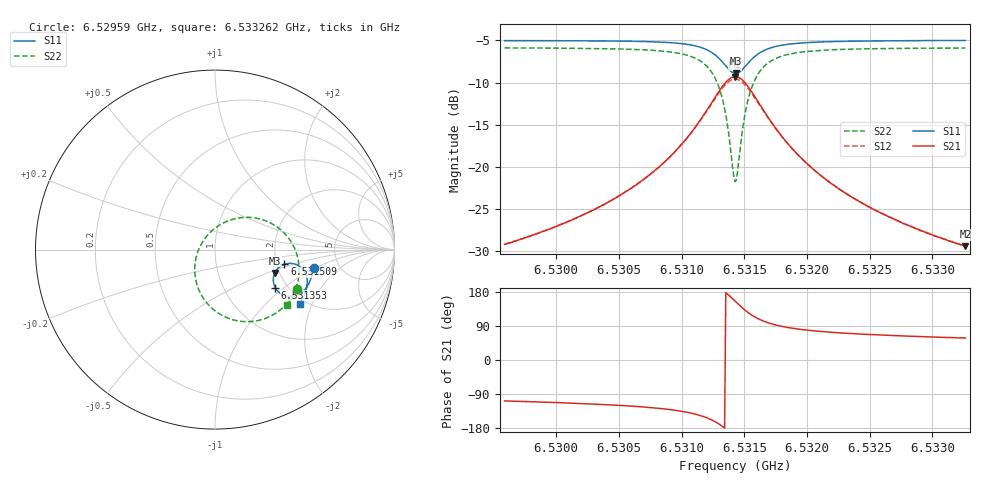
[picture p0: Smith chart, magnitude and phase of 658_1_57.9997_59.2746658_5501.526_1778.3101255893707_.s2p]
#  HZ  S  RI  R  50.00
! Rohde & Schwarz Vector Network Analyzer
! Rohde-Schwarz,ZNB20-2Port,1311601062101988,3.16
! Created: UTC 3/21/2024, 1:19:50 AM
! freq[Hz]  re:S11  im:S11  re:S21  im:S21  re:S12  im:S12  re:S22  im:S22
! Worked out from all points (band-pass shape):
!   401 points, 6.52959 GHz to 6.533262 GHz, reference 50 ohm
!   highest |S21| = -9.30 dB at 6.531426 GHz (marker M1); lowest = -29.4 dB at 6.533262 GHz (marker M2)
!   |S21| within 3 dB of the highest: 6.531244 GHz to 6.531611 GHz (366.8 kHz wide, 0.00562 % of centre)
!   lowest |S11| = -8.9 dB at 6.531435 GHz (marker M3), VSWR 2.11, Z = 94.5 - j28.3 ohm
!   |S11| at or under -10 dB: nowhere
!   |S22| runs from -21.8 to -5.9 dB; largest |S21 - S12| = 0.015
!   S11 on the Smith chart (normalised r, x): 6.52959 GHz: 3.25, -0.95; 6.531353 GHz: 1.73, -0.87; 6.531509 GHz: 2.20, -0.43; 6.533262 GHz: 1.84, -1.64
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6.5295901e9  0.5515 -0.1  -0.0107 -0.033  -0.0114 -0.0328  0.4584 -0.2174
6.5302052e9  0.538 -0.1523  -0.0218 -0.0466  -0.0229 -0.0463  0.4221 -0.2758
6.5304989e9  0.5269 -0.1805  -0.0332 -0.0581  -0.0348 -0.0573  0.392 -0.311
6.5308203e9  0.5055 -0.2166  -0.061 -0.079  -0.0633 -0.0771  0.3295 -0.3596
6.5310314e9  0.4751 -0.245  -0.1059 -0.0983  -0.1091 -0.0943  0.2394 -0.3951
6.5311966e9  0.4222 -0.2619  -0.1883 -0.1007  -0.1902 -0.0923  0.0903 -0.388
6.5312885e9  0.3715 -0.2492  -0.2662 -0.0621  -0.2634 -0.0506  -0.036 -0.3079
6.5313252e9  0.3496 -0.2316  -0.2983 -0.0256  -0.292 -0.014  -0.0826 -0.2404
6.5313527e9  0.3356 -0.2119  -0.3171 0.0123  -0.3081 0.023  -0.1061 -0.1739
6.5314078e9  0.3254 -0.1583  -0.323 0.1086  -0.3098 0.1138  -0.0969 -0.0153
6.5314262e9  0.3298 -0.1394  -0.3121 0.1416  -0.2986 0.1444  -0.073 0.0364
6.5314353e9  0.3333 -0.1304  -0.3041 0.1572  -0.2909 0.1588  -0.0572 0.0603
6.5314537e9  0.3434 -0.1134  -0.2842 0.1855  -0.2716 0.1849  -0.0199 0.1026
6.5314721e9  0.3562 -0.0996  -0.2599 0.2085  -0.2484 0.2063  0.0239 0.1361
6.5315088e9  0.3865 -0.0818  -0.2047 0.2379  -0.1965 0.2333  0.1194 0.1741
6.531573e9  0.4371 -0.0787  -0.1167 0.2422  -0.1128 0.238  0.2662 0.166
6.5316648e9  0.4819 -0.1024  -0.0406 0.2059  -0.0391 0.2037  0.3891 0.0888
6.5318026e9  0.5075 -0.142  0.00393 0.1506  0.00515 0.1498  0.4542 -0.0209
6.5320412e9  0.5137 -0.1895  0.0215 0.0957  0.0225 0.0954  0.4682 -0.1324
6.5323258e9  0.5074 -0.2264  0.0231 0.0644  0.0241 0.064  0.4552 -0.2025
6.5326563e9  0.4959 -0.2584  0.0213 0.0457  0.0222 0.0453  0.436 -0.2519
6.5332622e9  0.4715 -0.3055  0.018 0.0287  0.0187 0.0283  0.4011 -0.3095
